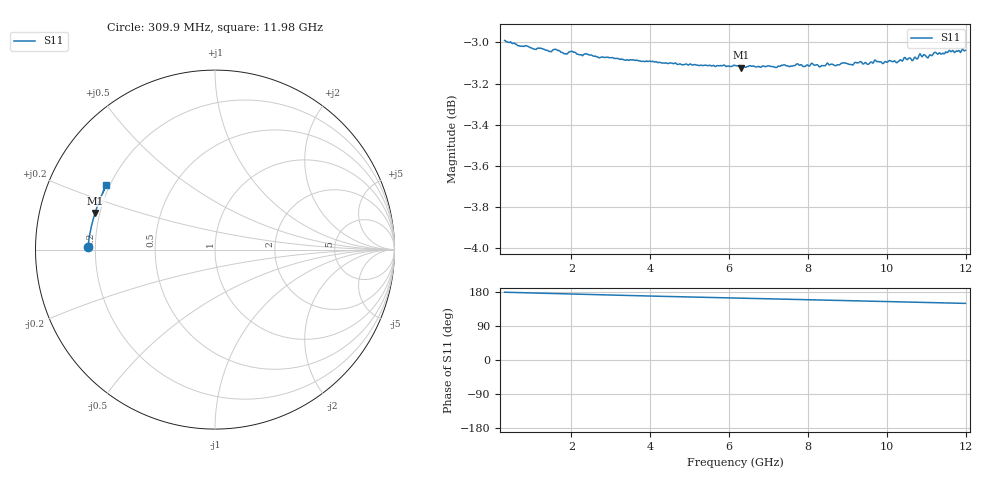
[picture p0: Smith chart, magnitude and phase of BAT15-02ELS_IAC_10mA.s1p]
! Infineon Technologies  Discrete & RF Semiconductors
! BAT15-02ELS
! IAC = 10 mA
! One-Port S-Parameters
# Hz  S  MA  R  50
!f  S11
!Hz  Mag  Ang
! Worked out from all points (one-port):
!   468 points, 309.9 MHz to 11.98 GHz, reference 50 ohm
!   lowest |S11| = -3.1 dB at 6.307 GHz (marker M1), VSWR 5.62, Z = 9.09 + j7.25 ohm
!   |S11| at or under -10 dB: nowhere
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3.0985e8  0.7087 178.9
1.584212e9  0.7052 175.4
1.784112e9  0.7038 174.7
2.033988e9  0.7042 174.1
3.233388e9  0.7012 170.8
4.70765e9  0.6992 167.0
6.156925e9  0.6988 163.4
6.30685e9  0.698 163.0
7.281362e9  0.6985 160.5
7.431288e9  0.6988 160.3
7.6062e9  0.6986 159.7
7.831088e9  0.6991 159.3
8.030988e9  0.6986 158.7
8.2059e9  0.6991 158.4
8.4058e9  0.6987 157.8
8.6057e9  0.6994 157.4
8.780612e9  0.6991 156.9
8.930538e9  0.6998 156.7
9.080462e9  0.6992 156.2
9.730138e9  0.7004 154.7
9.980012e9  0.7001 154.0
1.052974e10  0.7015 152.8
1.075462e10  0.7014 152.2
1.095452e10  0.7029 151.9
1.112944e10  0.7027 151.3
1.130435e10  0.7036 151.0
1.187906e10  0.7046 149.6
1.197901e10  0.7048 149.5
